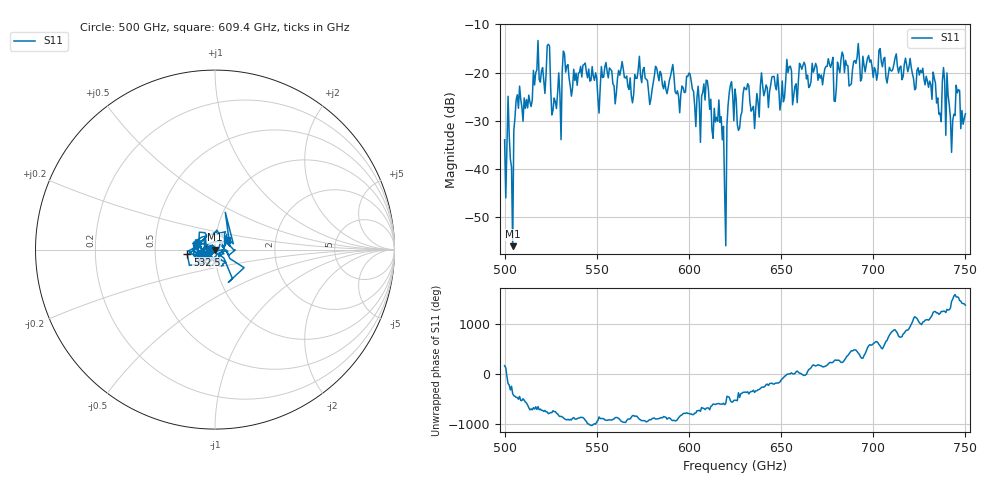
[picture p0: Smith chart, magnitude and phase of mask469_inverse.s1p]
!Created with skrf (http://scikit-rf.org).
# GHz S MA R 50.0
!freq magS11 angS11
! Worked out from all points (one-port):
!   401 points, 500 GHz to 750 GHz, reference 50 ohm
!   lowest |S11| = -56.0 dB at 504.4 GHz (marker M1), VSWR 1.00, Z = 50.1 - j0.0684 ohm
!   |S11| at or under -10 dB: start of sweep to end of sweep
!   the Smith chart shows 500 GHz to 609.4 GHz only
!   S11 on the Smith chart (normalised r, x): 500 GHz: 0.96, +0.00; 532.5 GHz: 0.73, -0.04; 609.4 GHz: 1.13, +0.12
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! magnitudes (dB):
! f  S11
! 500 GHz  -33.9
! 504.4 GHz  -56.0
! 506.9 GHz  -24.6
! 513.8 GHz  -26.1
! 516.9 GHz  -20.0
! 523.8 GHz  -14.1
! 526.9 GHz  -25.2
! 531.2 GHz  -19.7
! 532.5 GHz  -16.1
! 550.6 GHz  -25.3
! 562.5 GHz  -20.5
! 579.4 GHz  -25.5
! 590.6 GHz  -19.5
! 593.8 GHz  -23.8
! 600 GHz  -20.1
! 605 GHz  -22.8
! 609.4 GHz  -21.5
! 617.5 GHz  -29.1
! 619.4 GHz  -44.6
! 620.6 GHz  -30.9
! 621.9 GHz  -24.2
! 625 GHz  -23.4
! 656.2 GHz  -26.6
! 683.8 GHz  -16.5
! 687.5 GHz  -22.5
! 691.2 GHz  -16.8
! 718.8 GHz  -19.8
! 750 GHz  -28.5
